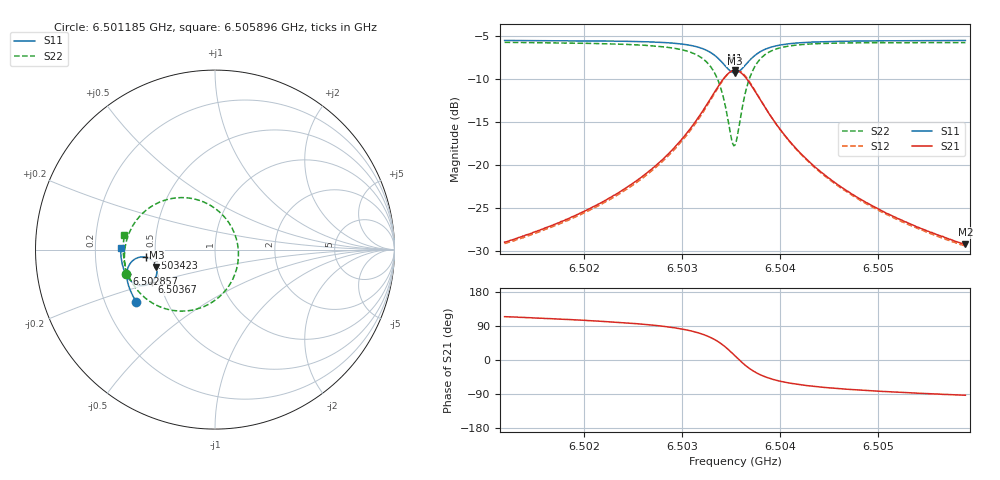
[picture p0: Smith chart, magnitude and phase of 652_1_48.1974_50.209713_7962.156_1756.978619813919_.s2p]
#  HZ  S  RI  R  50.00
! Rohde & Schwarz Vector Network Analyzer
! Rohde-Schwarz,ZNB20-2Port,1311601062101988,3.16
! Created: UTC 3/20/2024, 12:05:15 PM
! freq[Hz]  re:S11  im:S11  re:S21  im:S21  re:S12  im:S12  re:S22  im:S22
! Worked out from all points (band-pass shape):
!   401 points, 6.501185 GHz to 6.505896 GHz, reference 50 ohm
!   highest |S21| = -9.04 dB at 6.50354 GHz (marker M1); lowest = -29.2 dB at 6.505896 GHz (marker M2)
!   |S21| within 3 dB of the highest: 6.503305 GHz to 6.503777 GHz (471.7 kHz wide, 0.00725 % of centre)
!   lowest |S11| = -9.3 dB at 6.50354 GHz (marker M3), VSWR 2.04, Z = 25 - j5.53 ohm
!   |S11| at or under -10 dB: nowhere
!   |S22| runs from -17.8 to -5.8 dB; largest |S21 - S12| = 0.013
!   S11 on the Smith chart (normalised r, x): 6.501185 GHz: 0.34, -0.27; 6.502857 GHz: 0.33, -0.12; 6.503423 GHz: 0.45, -0.05; 6.50367 GHz: 0.46, -0.19; 6.505896 GHz: 0.31, +0.01
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6.5011846e9  -0.4375 -0.2928  -0.0147 0.0326  -0.0129 0.0326  -0.4954 -0.1347
6.5019738e9  -0.4697 -0.2324  -0.0137 0.0514  -0.0112 0.0509  -0.505 -0.0466
6.502386e9  -0.4834 -0.1945  -0.0107 0.0705  -0.00737 0.0692  -0.5003 0.0149
6.502763e9  -0.4914 -0.151  -0.000285 0.103  0.0037 0.1005  -0.4772 0.0955
6.5028572e9  -0.4914 -0.1374  0.00559 0.1156  0.00971 0.1126  -0.4642 0.1223
6.5030574e9  -0.4854 -0.1029  0.0306 0.1523  0.0348 0.1475  -0.4122 0.1933
6.5031988e9  -0.4689 -0.0725  0.0723 0.1875  0.0754 0.1809  -0.3318 0.2533
6.5033283e9  -0.4311 -0.0454  0.1527 0.2138  0.1538 0.207  -0.1858 0.2897
6.5034225e9  -0.3825 -0.0434  0.2478 0.196  0.2482 0.1908  -0.0212 0.2438
6.503505e9  -0.338 -0.0745  0.3288 0.1179  0.3317 0.1131  0.1087 0.0898
6.5035403e9  -0.3269 -0.0979  0.3469 0.067  0.3511 0.0607  0.1303 -0.00588
6.5035639e9  -0.3239 -0.115  0.3503 0.0311  0.3548 0.0232  0.1275 -0.0723
6.5035992e9  -0.3261 -0.1403  0.3424 -0.0213  0.3464 -0.0314  0.0987 -0.1652
6.5036699e9  -0.3494 -0.1789  0.2933 -0.1006  0.2932 -0.1135  -0.017 -0.2938
6.5037641e9  -0.3921 -0.1995  0.2116 -0.1454  0.2061 -0.1567  -0.1837 -0.3426
6.5038348e9  -0.4192 -0.1996  0.162 -0.1506  0.1547 -0.1594  -0.2764 -0.3295
6.5039172e9  -0.443 -0.1922  0.1198 -0.1443  0.1119 -0.1505  -0.3507 -0.2966
6.5040939e9  -0.4746 -0.1694  0.0675 -0.1207  0.0605 -0.1234  -0.4353 -0.2224
6.5043295e9  -0.4959 -0.1397  0.0358 -0.0942  0.0305 -0.0949  -0.481 -0.147
6.5046946e9  -0.512 -0.0999  0.0155 -0.0687  0.0119 -0.0683  -0.5048 -0.0682
6.5051186e9  -0.521 -0.0597  0.00553 -0.0514  0.003 -0.0508  -0.5113 -0.00452
6.505896e9  -0.5262 0.00715  -0.00184 -0.0346  -0.0034 -0.0337  -0.5047 0.0817
